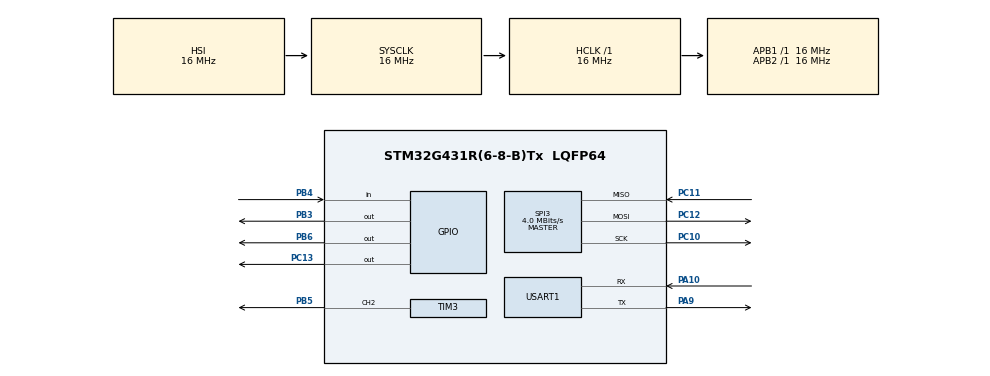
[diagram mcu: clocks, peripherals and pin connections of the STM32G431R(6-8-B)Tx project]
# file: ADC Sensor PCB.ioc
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Mcu.Family=STM32G4
Mcu.Name=STM32G431R(6-8-B)Tx
Mcu.Package=LQFP64
NVIC.PriorityGroup=NVIC_PRIORITYGROUP_4
NVIC.TIM3_IRQn=true\:0\:0\:false\:false\:true\:true\:true\:true
NVIC.USART1_IRQn=true\:0\:0\:false\:false\:true\:true\:true\:true
PA10.Mode=Asynchronous
PA10.Signal=USART1_RX
PA9.Mode=Asynchronous
PA9.Signal=USART1_TX
PB3.Signal=GPIO_Output
PB4.Signal=GPIO_Input
PB5.Signal=S_TIM3_CH2
PB6.Signal=GPIO_Output
PC10.Mode=Full_Duplex_Master
PC10.Signal=SPI3_SCK
PC11.Mode=Full_Duplex_Master
PC11.Signal=SPI3_MISO
PC12.Mode=Full_Duplex_Master
PC12.Signal=SPI3_MOSI
PC13.Signal=GPIO_Output
ProjectManager.HeapSize=0x200
ProjectManager.StackSize=0x400
ProjectManager.TargetToolchain=STM32CubeIDE
RCC.AHBFreq_Value=16000000
RCC.APB1Freq_Value=16000000
RCC.APB1TimFreq_Value=16000000
RCC.APB2Freq_Value=16000000
RCC.APB2TimFreq_Value=16000000
RCC.CortexFreq_Value=16000000
RCC.EXTERNAL_CLOCK_VALUE=12288000
RCC.HCLKFreq_Value=16000000
RCC.HSE_VALUE=8000000
RCC.HSI48_VALUE=48000000
RCC.HSI_VALUE=16000000
RCC.LSE_VALUE=32768
RCC.SYSCLKFreq_VALUE=16000000
RCC.USBFreq_Value=64000000
RCC.VCOOutputFreq_Value=128000000
SH.S_TIM3_CH2.0=TIM3_CH2,PWM Generation2 CH2
SPI3.BaudRatePrescaler=SPI_BAUDRATEPRESCALER_4
SPI3.CLKPhase=SPI_PHASE_2EDGE
SPI3.CalculateBaudRate=4.0 MBits/s
SPI3.DataSize=SPI_DATASIZE_8BIT
SPI3.Direction=SPI_DIRECTION_2LINES
SPI3.Mode=SPI_MODE_MASTER
SPI3.VirtualType=VM_MASTER
TIM3.Channel-PWM\ Generation2\ CH2=TIM_CHANNEL_2
TIM3.PeriodNoDither=7
TIM3.PulseNoDither_2=4
USART1.VirtualMode-Asynchronous=VM_ASYNC
VP_SYS_VS_DBSignals.Mode=DisableDeadBatterySignals
VP_TIM3_VS_ClockSourceINT.Mode=Internal
board=custom

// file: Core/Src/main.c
/* USER CODE BEGIN Header */
/**
  ******************************************************************************
  * @file           : main.c
  * @brief          : Main program body
  ******************************************************************************
  * @attention
  *
  * Copyright (c) 2026 STMicroelectronics.
  * All rights reserved.
  *
  * This software is licensed under terms that can be found in the LICENSE file
  * in the root directory of this software component.
  * If no LICENSE file comes with this software, it is provided AS-IS.
  *
  ******************************************************************************
  */
/* USER CODE END Header */
#include "main.h"

SPI_HandleTypeDef hspi3;

TIM_HandleTypeDef htim3;

UART_HandleTypeDef huart1;

void SystemClock_Config(void);
static void MX_GPIO_Init(void);
static void MX_USART1_UART_Init(void);
static void MX_TIM3_Init(void);
static void MX_SPI3_Init(void);
/* USER CODE BEGIN PFP */
void ADS131M04_ReadData(void);
void ADS131M04_PrintData(void);
uint8_t txData[18];
uint8_t rxData[18];
uint8_t debug_data[18] = {0};

uint32_t ADC_CH0 = 0;
uint32_t ADC_CH1 = 0;
uint32_t ADC_CH2 = 0;
uint32_t ADC_CH3 = 0;

uint8_t firstRead = 1;

void ADS131M04_ReadData(void)
{
    // Wait until DRDY becomes LOW
    uint32_t timeout = HAL_GetTick();

    while(HAL_GPIO_ReadPin(GPIOB, GPIO_PIN_4) == GPIO_PIN_SET)
    {
        if(HAL_GetTick() - timeout > 100)
        {
            return;  // Timeout
        }
    }

    // Send NULL command and receive ADC data
    HAL_GPIO_WritePin(GPIOA, GPIO_PIN_15, GPIO_PIN_RESET);

    HAL_SPI_TransmitReceive(&hspi3,
                            txData,
                            rxData,
                            18,
                            100);

    HAL_GPIO_WritePin(GPIOA, GPIO_PIN_15, GPIO_PIN_SET);

    // First frame: send NULL command, discard old response
    if(firstRead == 1)
    {
        firstRead = 0;
        return;
    }

    // Extract Channel 0 (bytes 3, 4, 5)
    ADC_CH0 = ((int32_t)rxData[3] << 16) |
              ((int32_t)rxData[4] << 8)  |
              ((int32_t)rxData[5]);

    // Extract Channel 1 (bytes 6, 7, 8)
    ADC_CH1 = ((int32_t)rxData[6] << 16) |
              ((int32_t)rxData[7] << 8)  |
              ((int32_t)rxData[8]);

    // Extract Channel 2 (bytes 9, 10, 11)
    ADC_CH2 = ((int32_t)rxData[9] << 16) |
              ((int32_t)rxData[10] << 8) |
              ((int32_t)rxData[11]);

    // Extract Channel 3 (bytes 12, 13, 14)
    ADC_CH3 = ((int32_t)rxData[12] << 16) |
              ((int32_t)rxData[13] << 8) |
              ((int32_t)rxData[14]);

    // Convert 24-bit signed data into signed 32-bit data

    if(ADC_CH0 & 0x800000) ADC_CH0 |= 0xFF000000;
    if(ADC_CH1 & 0x800000) ADC_CH1 |= 0xFF000000;
    if(ADC_CH2 & 0x800000) ADC_CH2 |= 0xFF000000;
    if(ADC_CH3 & 0x800000) ADC_CH3 |= 0xFF000000;
//    ADC_CH0 =  ADC_CH0 * 0.196695;
//    ADC_CH1=  ADC_CH1* 0.196695;
//	ADC_CH2 =  ADC_CH2* 0.196695;
//	ADC_CH3= ADC_CH3* 0.196695;
}

void ADS131M04_PrintData(void)
{
    char msg[200];

    sprintf(msg,
            "\r\nADC CHANNEL VALUES\r\n"
            "CH0 = %ld\r\n"
            "CH1 = %ld\r\n"
            "CH2 = %ld\r\n"
            "CH3 = %ld\r\n"
            "------------------------\r\n",
            (long)ADC_CH0,
            (long)ADC_CH1,
            (long)ADC_CH2,
            (long)ADC_CH3);

    HAL_UART_Transmit(&huart1,
                      (uint8_t *)msg,
                      strlen(msg),
                      HAL_MAX_DELAY);
}

/* USER CODE END PFP */

int main(void)
{

  /* MCU Configuration--------------------------------------------------------*/

  /* Reset of all peripherals, Initializes the Flash interface and the Systick. */
  HAL_Init();

  /* Configure the system clock */
  SystemClock_Config();

  /* Initialize all configured peripherals */
  MX_GPIO_Init();
  MX_USART1_UART_Init();
  MX_TIM3_Init();
  MX_SPI3_Init();
  /* USER CODE BEGIN 2 */
  HAL_GPIO_WritePin(GPIOB, GPIO_PIN_3, GPIO_PIN_RESET);

	  HAL_Delay(10);

	  // Release ADC from reset
	  HAL_GPIO_WritePin(GPIOB, GPIO_PIN_3, GPIO_PIN_SET);
	  HAL_Delay(10);

  HAL_Delay(10);
  if (HAL_TIM_PWM_Start(&htim3, TIM_CHANNEL_2) != HAL_OK)
  {
      Error_Handler();
  }
  /* USER CODE END 2 */

  /* Infinite loop */
  while (1)
  {

    /* USER CODE BEGIN 3 */
	  ADS131M04_ReadData();
	  ADS131M04_PrintData();
     HAL_Delay(2000);

 }
  /* USER CODE END 3 */
}

void SystemClock_Config(void)
{
  RCC_OscInitTypeDef RCC_OscInitStruct = {0};
  RCC_ClkInitTypeDef RCC_ClkInitStruct = {0};

  /** Configure the main internal regulator output voltage
  */
  HAL_PWREx_ControlVoltageScaling(PWR_REGULATOR_VOLTAGE_SCALE1);

  /** Initializes the RCC Oscillators according to the specified parameters
  * in the RCC_OscInitTypeDef structure.
  */
  RCC_OscInitStruct.OscillatorType = RCC_OSCILLATORTYPE_HSI;
  RCC_OscInitStruct.HSIState = RCC_HSI_ON;
  RCC_OscInitStruct.HSICalibrationValue = RCC_HSICALIBRATION_DEFAULT;
  RCC_OscInitStruct.PLL.PLLState = RCC_PLL_NONE;
  if (HAL_RCC_OscConfig(&RCC_OscInitStruct) != HAL_OK)
  {
    Error_Handler();
  }

  /** Initializes the CPU, AHB and APB buses clocks
  */
  RCC_ClkInitStruct.ClockType = RCC_CLOCKTYPE_HCLK|RCC_CLOCKTYPE_SYSCLK
                              |RCC_CLOCKTYPE_PCLK1|RCC_CLOCKTYPE_PCLK2;
  RCC_ClkInitStruct.SYSCLKSource = RCC_SYSCLKSOURCE_HSI;
  RCC_ClkInitStruct.AHBCLKDivider = RCC_SYSCLK_DIV1;
  RCC_ClkInitStruct.APB1CLKDivider = RCC_HCLK_DIV1;
  RCC_ClkInitStruct.APB2CLKDivider = RCC_HCLK_DIV1;

  if (HAL_RCC_ClockConfig(&RCC_ClkInitStruct, FLASH_LATENCY_0) != HAL_OK)
  {
    Error_Handler();
  }
}

static void MX_SPI3_Init(void)
{

  /* SPI3 parameter configuration*/
  hspi3.Instance = SPI3;
  hspi3.Init.Mode = SPI_MODE_MASTER;
  hspi3.Init.Direction = SPI_DIRECTION_2LINES;
  hspi3.Init.DataSize = SPI_DATASIZE_8BIT;
  hspi3.Init.CLKPolarity = SPI_POLARITY_LOW;
  hspi3.Init.CLKPhase = SPI_PHASE_2EDGE;
  hspi3.Init.NSS = SPI_NSS_SOFT;
  hspi3.Init.BaudRatePrescaler = SPI_BAUDRATEPRESCALER_4;
  hspi3.Init.FirstBit = SPI_FIRSTBIT_MSB;
  hspi3.Init.TIMode = SPI_TIMODE_DISABLE;
  hspi3.Init.CRCCalculation = SPI_CRCCALCULATION_DISABLE;
  hspi3.Init.CRCPolynomial = 7;
  hspi3.Init.CRCLength = SPI_CRC_LENGTH_DATASIZE;
  hspi3.Init.NSSPMode = SPI_NSS_PULSE_DISABLE;
  if (HAL_SPI_Init(&hspi3) != HAL_OK)
  {
    Error_Handler();
  }

}

static void MX_TIM3_Init(void)
{

  TIM_ClockConfigTypeDef sClockSourceConfig = {0};
  TIM_MasterConfigTypeDef sMasterConfig = {0};
  TIM_OC_InitTypeDef sConfigOC = {0};

  htim3.Instance = TIM3;
  htim3.Init.Prescaler = 0;
  htim3.Init.CounterMode = TIM_COUNTERMODE_UP;
  htim3.Init.Period = 7;
  htim3.Init.ClockDivision = TIM_CLOCKDIVISION_DIV1;
  htim3.Init.AutoReloadPreload = TIM_AUTORELOAD_PRELOAD_DISABLE;
  if (HAL_TIM_Base_Init(&htim3) != HAL_OK)
  {
    Error_Handler();
  }
  sClockSourceConfig.ClockSource = TIM_CLOCKSOURCE_INTERNAL;
  if (HAL_TIM_ConfigClockSource(&htim3, &sClockSourceConfig) != HAL_OK)
  {
    Error_Handler();
  }
  if (HAL_TIM_PWM_Init(&htim3) != HAL_OK)
  {
    Error_Handler();
  }
  sMasterConfig.MasterOutputTrigger = TIM_TRGO_RESET;
  sMasterConfig.MasterSlaveMode = TIM_MASTERSLAVEMODE_DISABLE;
  if (HAL_TIMEx_MasterConfigSynchronization(&htim3, &sMasterConfig) != HAL_OK)
  {
    Error_Handler();
  }
  sConfigOC.OCMode = TIM_OCMODE_PWM1;
  sConfigOC.Pulse = 4;
  sConfigOC.OCPolarity = TIM_OCPOLARITY_HIGH;
  sConfigOC.OCFastMode = TIM_OCFAST_DISABLE;
  if (HAL_TIM_PWM_ConfigChannel(&htim3, &sConfigOC, TIM_CHANNEL_2) != HAL_OK)
  {
    Error_Handler();
  }
  HAL_TIM_MspPostInit(&htim3);

}

static void MX_USART1_UART_Init(void)
{

  huart1.Instance = USART1;
  huart1.Init.BaudRate = 115200;
  huart1.Init.WordLength = UART_WORDLENGTH_8B;
  huart1.Init.StopBits = UART_STOPBITS_1;
  huart1.Init.Parity = UART_PARITY_NONE;
  huart1.Init.Mode = UART_MODE_TX_RX;
  huart1.Init.HwFlowCtl = UART_HWCONTROL_NONE;
  huart1.Init.OverSampling = UART_OVERSAMPLING_16;
  huart1.Init.OneBitSampling = UART_ONE_BIT_SAMPLE_DISABLE;
  huart1.Init.ClockPrescaler = UART_PRESCALER_DIV1;
  huart1.AdvancedInit.AdvFeatureInit = UART_ADVFEATURE_NO_INIT;
  if (HAL_UART_Init(&huart1) != HAL_OK)
  {
    Error_Handler();
  }
  if (HAL_UARTEx_SetTxFifoThreshold(&huart1, UART_TXFIFO_THRESHOLD_1_8) != HAL_OK)
  {
    Error_Handler();
  }
  if (HAL_UARTEx_SetRxFifoThreshold(&huart1, UART_RXFIFO_THRESHOLD_1_8) != HAL_OK)
  {
    Error_Handler();
  }
  if (HAL_UARTEx_DisableFifoMode(&huart1) != HAL_OK)
  {
    Error_Handler();
  }

}

static void MX_GPIO_Init(void)
{
  GPIO_InitTypeDef GPIO_InitStruct = {0};

  /* GPIO Ports Clock Enable */
  __HAL_RCC_GPIOC_CLK_ENABLE();
  __HAL_RCC_GPIOA_CLK_ENABLE();
  __HAL_RCC_GPIOB_CLK_ENABLE();

  /*Configure GPIO pin Output Level */
  HAL_GPIO_WritePin(GPIOC, GPIO_PIN_13, GPIO_PIN_RESET);

  /*Configure GPIO pin Output Level */
  HAL_GPIO_WritePin(GPIOB, GPIO_PIN_3|GPIO_PIN_6, GPIO_PIN_RESET);

  /*Configure GPIO pin : PC13 */
  GPIO_InitStruct.Pin = GPIO_PIN_13;
  GPIO_InitStruct.Mode = GPIO_MODE_OUTPUT_PP;
  GPIO_InitStruct.Pull = GPIO_NOPULL;
  GPIO_InitStruct.Speed = GPIO_SPEED_FREQ_LOW;
  HAL_GPIO_Init(GPIOC, &GPIO_InitStruct);

  /*Configure GPIO pins : PB3 PB6 */
  GPIO_InitStruct.Pin = GPIO_PIN_3|GPIO_PIN_6;
  GPIO_InitStruct.Mode = GPIO_MODE_OUTPUT_PP;
  GPIO_InitStruct.Pull = GPIO_NOPULL;
  GPIO_InitStruct.Speed = GPIO_SPEED_FREQ_LOW;
  HAL_GPIO_Init(GPIOB, &GPIO_InitStruct);

  /*Configure GPIO pin : PB4 */
  GPIO_InitStruct.Pin = GPIO_PIN_4;
  GPIO_InitStruct.Mode = GPIO_MODE_INPUT;
  GPIO_InitStruct.Pull = GPIO_NOPULL;
  HAL_GPIO_Init(GPIOB, &GPIO_InitStruct);

}

void Error_Handler(void)
{
  __disable_irq();
  while (1)
  {
  }
}
